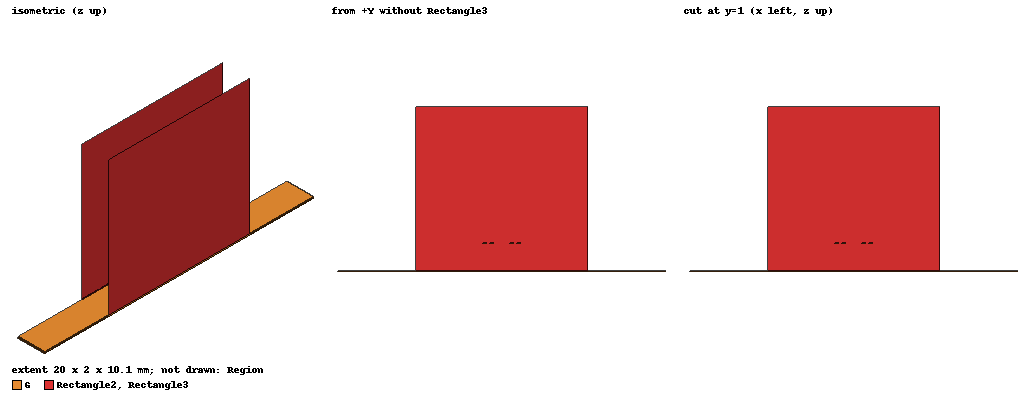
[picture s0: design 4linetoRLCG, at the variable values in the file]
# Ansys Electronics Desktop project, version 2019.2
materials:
  vacuum: permittivity=1
  copper: permeability=0.999991 conductivity=58000000
  FR4_epoxy: permittivity=4.4 dielectric_loss_tangent=0.02

design 4linetoRLCG (HFSS, DrivenTerminal, model units mm)
options: Calculate_Lossy_Dielectrics
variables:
  h = 1.6mm
  Ws = 10mm
  Ls = 2mm
  t = 0.1mm
  gd = 0.508mm
  wc = 0.254mm
  g = 0.127mm
  hs = 5mm
  dx = gd/2
  xd = 5mm
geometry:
  Sub [FR4_epoxy] = box(corner=(-Ws, 0mm, 0mm), size=(2*Ws, Ls, -t))
  M1 [copper] = box(corner=(-gd, 0mm, h), size=(-wc, ls, t))
  M2 [copper] = box(corner=(-gd-g-wc, 0mm, h), size=(-wc, ls, t))
  M1_1 [copper] = M1.duplicate_mirror(point=(0mm, 0mm, 0mm), normal=(1mm, 0mm, 0mm))
  M2_1 [copper] = M2.duplicate_mirror(point=(0mm, 0mm, 0mm), normal=(1mm, 0mm, 0mm))
  G [copper] = box(corner=(-Ws, 0mm, 0mm), size=(2*Ws, Ls, -t))
  Region [vacuum] = region(absolute_offset: +X=0mm, -X=0mm, +Y=0mm, -Y=0mm, +Z=10mm, -Z=0mm)
  Rectangle2 = rectangle(corner=(dx+xd, 0, 0mm), z_size=hs*2, x_size=-2*xd-2*dx)
  Rectangle3 = rectangle(corner=(dx+xd, ls, 0), z_size=hs*2, x_size=-2*xd-2*dx)
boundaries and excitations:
  Rad1: Radiation Objects=Region
  M1_T1: Terminal port=1 Faces=M1.face(-y) TerminalResistance=50ohm
  M2_T1: Terminal port=1 Faces=M2.face(-y) TerminalResistance=50ohm
  M1_1_T1: Terminal port=1 Faces=M1_1.face(3 of 6) TerminalResistance=50ohm
  M2_1_T1: Terminal port=1 Faces=M2_1.face(3 of 6) TerminalResistance=50ohm
  M1_T2: Terminal port=2 Faces=M1.face(+y) TerminalResistance=50ohm
  M2_T2: Terminal port=2 Faces=M2.face(+y) TerminalResistance=50ohm
  M1_1_T2: Terminal port=2 Faces=M1_1.face(5 of 6) TerminalResistance=50ohm
  M2_1_T2: Terminal port=2 Faces=M2_1.face(5 of 6) TerminalResistance=50ohm
  1: Wave Port Faces=Rectangle2.face(at (0, 0, 5)) NumModes=1 DeembedDist=-15mm
  2: Wave Port Faces=Rectangle3.face NumModes=1
  reference conductors: G
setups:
  Setup1: HfssDriven AdaptMultipleFreqs MultipleAdaptiveFreqsSetup{1GHz(0.015) 5GHz(0.015) 10GHz(0.015) 20GHz(0.015) 30GHz(0.015) 40GHz(0.015) 50GHz(0.015) 60GHz(0.015) 70GHz(0.015)} MaximumPasses=20 MinimumPasses=2 MinimumConvergedPasses=2 PercentRefinement=30 BasisOrder=-1 PortAccuracy=2 IterativeResidual=1e-06 DDMSolverResidual=0.0001 VariablesForDerivatives(Ls) VariableFlagsForDerivatives(1)
    sweep Sweep: 10MHz to 70GHz step 0.1GHz; Type=Interpolating InterpTolerance=0.1 InterpMaxSolns=250 PassivityErrorTolerance=0.0001
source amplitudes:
  1:1: 1V 0deg
  1:2, 1:3, 1:4, 2:1..2:4: 0V 0deg
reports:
  Gamma Plot 1: re(Gamma(1:1)), re(Gamma(1:2)), re(Gamma(1:3)), re(Gamma(1:4)), re(Gamma(2:1)), re(Gamma(2:2)), re(Gamma(2:3)), re(Gamma(2:4)) vs Freq on Setup1 : Sweep
  Terminal Z Parameter Plot 1: dB20(Zt(M1_1_T1,M1_1_T1)), dB20(Zt(M1_T1,M1_1_T1)), dB20(Zt(M2_1_T1,M1_1_T1)), dB20(Zt(M2_T1,M1_1_T1)), dB20(Zt(M1_1_T2,M1_1_T1)), dB20(Zt(M1_T2,M1_1_T1)), dB20(Zt(M2_1_T2,M1_1_T1)), dB20(Zt(M2_T2,M1_1_T1)), dB20(Zt(M1_1_T1,M1_T1)), dB20(Zt(M1_T1,M1_T1)), dB20(Zt(M2_1_T1,M1_T1)), dB20(Zt(M2_T1,M1_T1)), dB20(Zt(M1_1_T2,M1_T1)), dB20(Zt(M1_T2,M1_T1)), dB20(Zt(M2_1_T2,M1_T1)), dB20(Zt(M2_T2,M1_T1)), dB20(Zt(M1_1_T1,M2_1_T1)), dB20(Zt(M1_T1,M2_1_T1)), dB20(Zt(M2_1_T1,M2_1_T1)), dB20(Zt(M2_T1,M2_1_T1)), dB20(Zt(M1_1_T2,M2_1_T1)), dB20(Zt(M1_T2,M2_1_T1)), dB20(Zt(M2_1_T2,M2_1_T1)), dB20(Zt(M2_T2,M2_1_T1)), dB20(Zt(M1_1_T1,M2_T1)), dB20(Zt(M1_T1,M2_T1)), dB20(Zt(M2_1_T1,M2_T1)), dB20(Zt(M2_T1,M2_T1)), dB20(Zt(M1_1_T2,M2_T1)), dB20(Zt(M1_T2,M2_T1)), dB20(Zt(M2_1_T2,M2_T1)), dB20(Zt(M2_T2,M2_T1)), dB20(Zt(M1_1_T1,M1_1_T2)), dB20(Zt(M1_T1,M1_1_T2)), dB20(Zt(M2_1_T1,M1_1_T2)), dB20(Zt(M2_T1,M1_1_T2)), dB20(Zt(M1_1_T2,M1_1_T2)), dB20(Zt(M1_T2,M1_1_T2)), dB20(Zt(M2_1_T2,M1_1_T2)), dB20(Zt(M2_T2,M1_1_T2))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 vs Freq on Setup1 : Sweep
  Terminal S Parameter Plot 1: dB(St(M1_1_T1,M1_1_T1)), dB(St(M1_T1,M1_1_T1)), dB(St(M2_1_T1,M1_1_T1)), dB(St(M2_T1,M1_1_T1)), dB(St(M1_1_T2,M1_1_T1)), dB(St(M1_T2,M1_1_T1)), dB(St(M2_1_T2,M1_1_T1)), dB(St(M2_T2,M1_1_T1)), dB(St(M1_1_T1,M1_T1)), dB(St(M1_T1,M1_T1)), dB(St(M2_1_T1,M1_T1)), dB(St(M2_T1,M1_T1)), dB(St(M1_1_T2,M1_T1)), dB(St(M1_T2,M1_T1)), dB(St(M2_1_T2,M1_T1)), dB(St(M2_T2,M1_T1)), dB(St(M1_1_T1,M2_1_T1)), dB(St(M1_T1,M2_1_T1)), dB(St(M2_1_T1,M2_1_T1)), dB(St(M2_T1,M2_1_T1)), dB(St(M1_1_T2,M2_1_T1)), dB(St(M1_T2,M2_1_T1)), dB(St(M2_1_T2,M2_1_T1)), dB(St(M2_T2,M2_1_T1)), dB(St(M1_1_T1,M2_T1)), dB(St(M1_T1,M2_T1)), dB(St(M2_1_T1,M2_T1)), dB(St(M2_T1,M2_T1)), dB(St(M1_1_T2,M2_T1)), dB(St(M1_T2,M2_T1)), dB(St(M2_1_T2,M2_T1)), dB(St(M2_T2,M2_T1)), dB(St(M1_1_T1,M1_1_T2)), dB(St(M1_T1,M1_1_T2)), dB(St(M2_1_T1,M1_1_T2)), dB(St(M2_T1,M1_1_T2)), dB(St(M1_1_T2,M1_1_T2)), dB(St(M1_T2,M1_1_T2)), dB(St(M2_1_T2,M1_1_T2)), dB(St(M2_T2,M1_1_T2))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 vs Freq on Setup1 : Sweep
